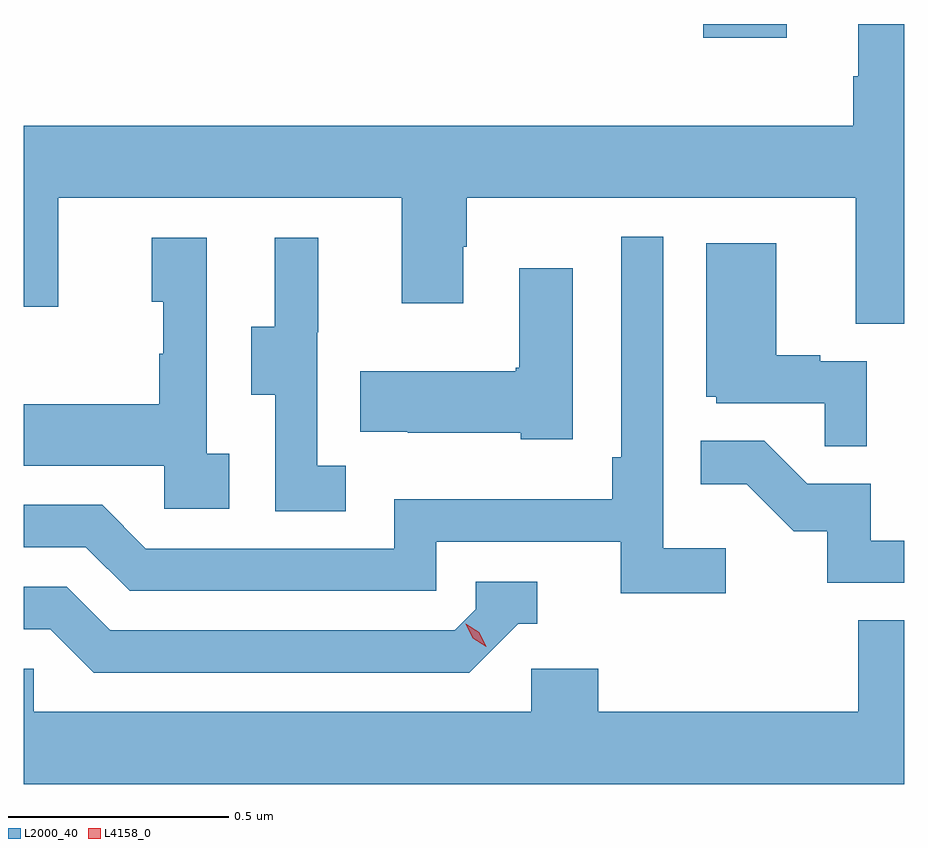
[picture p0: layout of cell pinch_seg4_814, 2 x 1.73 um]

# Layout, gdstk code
import gdstk
lib = gdstk.Library(unit=1e-6, precision=1e-09)
def R(c, l, rs):  # rectangles x0, y0, x1, y1
    for r in rs: c.add(gdstk.rectangle(r[:2], r[2:], *l))
def P(c, l, *ps):  # polygons
    for p in ps: c.add(gdstk.Polygon(p, *l))
L2000_40 = (2000, 40)
L4158_0 = (4158, 0)

pinch_seg4_814 = lib.new_cell('pinch_seg4_814')
R(pinch_seg4_814, L2000_40, [(804.919,825.156,805.108,825.187)])
P(pinch_seg4_814, L2000_40, [(805.375,825.187),(805.271,825.187),(805.271,825.068),(805.259,825.068),(805.259,824.956),(803.375,824.956),(803.375,824.544),(803.453,824.544),(803.453,824.792),(804.233,824.792),(804.233,824.553),(804.373,824.553),(804.373,824.681),(804.381,824.681),(804.381,824.792),(805.265,824.792),(805.265,824.506),(805.375,824.506)],
  [(804.97,823.996),(804.828,823.996),(804.828,824.704),(804.732,824.704),(804.732,824.203),(804.712,824.203),(804.712,824.107),(804.216,824.107),(804.216,823.995),(803.652,823.995),(803.553,824.094),(803.375,824.094),(803.375,823.998),(803.516,823.998),(803.615,823.899),(804.312,823.899),(804.312,824.01),(804.731,824.01),(804.731,823.894),(804.97,823.894)],
  [(803.842,824.21),(803.79,824.21),(803.79,824.701),(803.666,824.701),(803.666,824.556),(803.692,824.556),(803.692,824.438),(803.682,824.438),(803.682,824.323),(803.375,824.323),(803.375,824.183),(803.694,824.183),(803.694,824.085),(803.842,824.085)],
  [(804.106,824.183),(804.042,824.183),(804.042,824.487),(804.044,824.487),(804.044,824.701),(803.945,824.701),(803.945,824.499),(803.891,824.499),(803.891,824.344),(803.946,824.344),(803.946,824.08),(804.106,824.08)],
  [(805.29,824.421),(805.184,824.421),(805.184,824.434),(805.084,824.434),(805.084,824.689),(804.926,824.689),(804.926,824.34),(804.948,824.34),(804.948,824.325),(805.195,824.325),(805.195,824.227),(805.29,824.227)],
  [(804.622,824.632),(804.5,824.632),(804.5,824.406),(804.493,824.406),(804.493,824.398),(804.139,824.398),(804.139,824.261),(804.247,824.261),(804.247,824.258),(804.504,824.258),(804.504,824.243),(804.622,824.243)],
  [(805.375,824.013),(805.299,824.013),(805.299,824.142),(805.155,824.142),(805.057,824.24),(804.913,824.24),(804.913,824.141),(805.017,824.141),(805.124,824.034),(805.201,824.034),(805.201,823.917),(805.375,823.917)],
  [(804.498,823.824),(804.541,823.824),(804.541,823.92),(804.402,823.92),(804.402,823.857),(804.354,823.809),(803.571,823.809),(803.472,823.908),(803.375,823.908),(803.375,823.812),(803.435,823.812),(803.534,823.713),(804.387,823.713)],
  [(805.375,823.832),(805.271,823.832),(805.271,823.624),(804.68,823.624),(804.68,823.722),(804.528,823.722),(804.528,823.624),(803.397,823.624),(803.397,823.722),(803.375,823.722),(803.375,823.46),(805.375,823.46)])
P(pinch_seg4_814, L4158_0, [(804.426,823.772),(804.395,823.791),(804.379,823.824),(804.379,823.824),(804.379,823.824),(804.41,823.805),(804.426,823.772),(804.426,823.772)])

lib.write_gds('pinch_seg4_814.gds')
